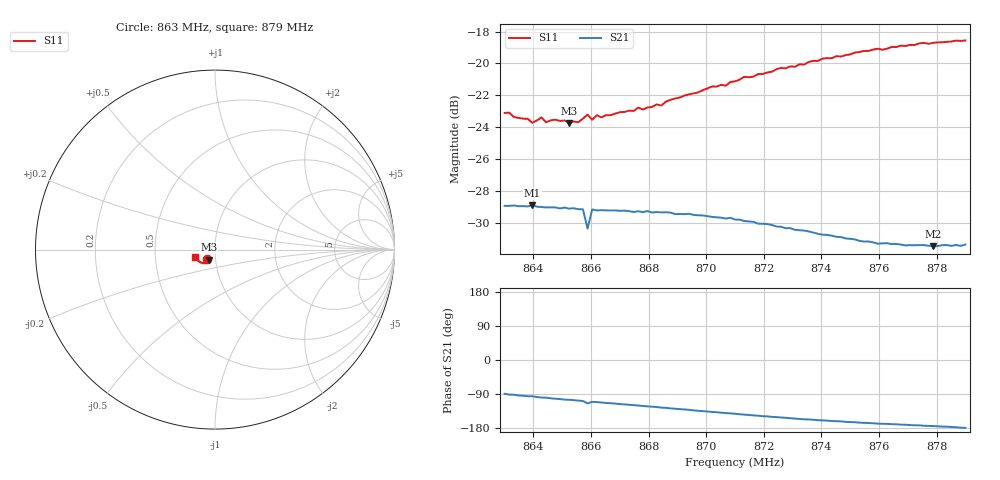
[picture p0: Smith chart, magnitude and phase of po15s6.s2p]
# HZ S RI R 50
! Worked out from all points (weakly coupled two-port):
!   101 points, 863 MHz to 879 MHz, reference 50 ohm
!   highest |S21| = -28.92 dB at 863.96 MHz (marker M1); lowest = -31.5 dB at 877.88 MHz (marker M2)
!   lowest |S11| = -23.7 dB at 865.24 MHz (marker M3), VSWR 1.14, Z = 46.4 - j5.17 ohm
!   |S11| at or under -10 dB: start of sweep to end of sweep
!   S12 and S22 are empty: the file has one direction only
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8.63e8  -0.0445 -0.0538  0.000481 -0.0357  0 0  0 0
8.638e8  -0.0416 -0.0526  -0.00351 -0.0354  0 0  0 0
8.6396e8  -0.0373 -0.0533  -0.0035 -0.0357  0 0  0 0
8.6428e8  -0.0388 -0.0554  -0.00557 -0.035  0 0  0 0
8.6444e8  -0.0378 -0.0532  -0.00579 -0.0348  0 0  0 0
8.6476e8  -0.0374 -0.0551  -0.00749 -0.0345  0 0  0 0
8.6524e8  -0.034 -0.0554  -0.00907 -0.0338  0 0  0 0
8.6556e8  -0.0346 -0.0554  -0.0103 -0.0333  0 0  0 0
8.6572e8  -0.0347 -0.0574  -0.0109 -0.0331  0 0  0 0
8.6588e8  -0.0375 -0.0579  -0.0126 -0.0276  0 0  0 0
8.6604e8  -0.0332 -0.0577  -0.0121 -0.0326  0 0  0 0
8.662e8  -0.036 -0.0585  -0.0124 -0.0322  0 0  0 0
8.6636e8  -0.034 -0.0585  -0.013 -0.0321  0 0  0 0
8.6764e8  -0.0356 -0.0633  -0.0172 -0.0297  0 0  0 0
8.678e8  -0.0339 -0.0631  -0.0178 -0.0291  0 0  0 0
8.6844e8  -0.0344 -0.0652  -0.0199 -0.0277  0 0  0 0
8.6876e8  -0.0363 -0.0677  -0.0208 -0.0269  0 0  0 0
8.71e8  -0.0463 -0.0746  -0.0254 -0.02  0 0  0 0
8.7372e8  -0.0679 -0.0759  -0.0272 -0.0112  0 0  0 0
8.7644e8  -0.0935 -0.0627  -0.0266 -0.00497  0 0  0 0
8.7788e8  -0.1042 -0.0509  -0.0265 -0.00264  0 0  0 0
8.79e8  -0.1112 -0.0395  -0.027 -0.000411  0 0  0 0
